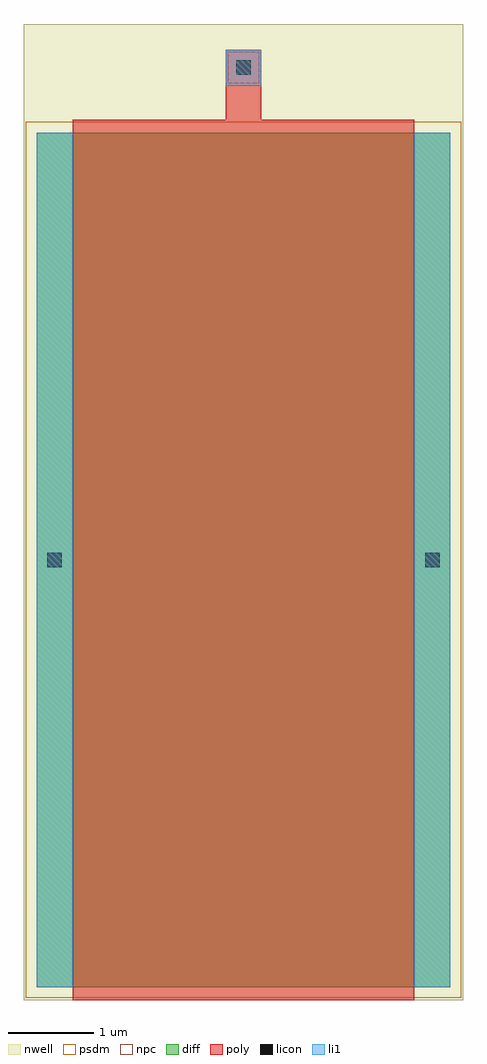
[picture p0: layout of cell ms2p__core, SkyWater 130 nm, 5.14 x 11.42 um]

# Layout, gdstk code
import gdstk
lib = gdstk.Library(unit=1e-6, precision=1e-09)
def R(c, l, rs):  # rectangles x0, y0, x1, y1
    for r in rs: c.add(gdstk.rectangle(r[:2], r[2:], *l))
nwell = (64, 20)
diff = (65, 20)
poly = (66, 20)
licon = (66, 44)
li1 = (67, 20)
psdm = (94, 20)
npc = (95, 20)

ms2p__core = lib.new_cell('ms2p__core')
R(ms2p__core, nwell, [(-0.15,-0.15,4.99,11.27)])
R(ms2p__core, diff, [(0,0,4.84,10)])
R(ms2p__core, poly, [(0.42,-0.15,4.42,10), (0.42,10,4.42,10.15), (0.42,10,4.42,10.15), (2.21,10.15,2.63,10.97)])
R(ms2p__core, licon, [(0.125,4.915,0.295,5.085), (4.545,4.915,4.715,5.085), (2.335,10.675,2.505,10.845)])
R(ms2p__core, li1, [(0,0,0.42,10), (4.42,0,4.84,10), (2.21,10.55,2.63,10.97)])
R(ms2p__core, psdm, [(-0.125,-0.125,4.965,10.125)])
R(ms2p__core, npc, [(2.235,10.575,2.605,10.945)])

lib.write_gds('ms2p__core.gds')
